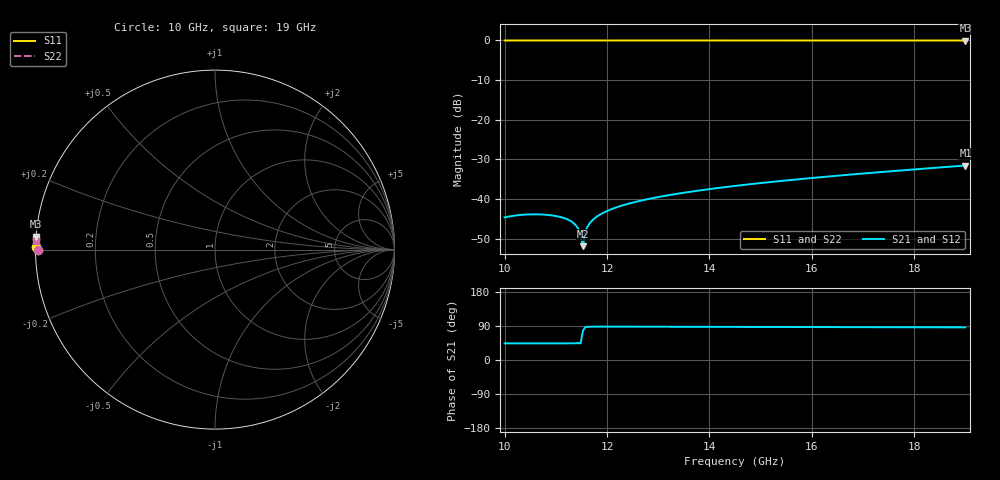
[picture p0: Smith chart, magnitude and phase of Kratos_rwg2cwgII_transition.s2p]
! Variables:
!  a = 0.3in
!  d = 2.99in
!  iris_radius = 0.0705in
!  iris_width = 0.04in
!  rwg_a = 0.622in
!  rwg_b = 0.311in
!  rwg_length = 0.3in
!Data is not renormalized
# GHz S RI
! Terminal data exported
! Port[1] = Port1_rwg
! Port[2] = Port2_cwg
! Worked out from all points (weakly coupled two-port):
!   201 points, 10 GHz to 19 GHz, reference per port
!   highest |S21| = -31.52 dB at 19 GHz (marker M1); lowest = -51.8 dB at 11.53 GHz (marker M2)
!   lowest |S11| = 0.0 dB at 19 GHz (marker M3), VSWR 981.56
!   |S11| at or under -10 dB: nowhere
!   |S22| runs from -0.1 to 0.0 dB; largest |S21 - S12| = 0
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10  -0.9994 0.0126  0.00424 0.00408  0.00424 0.00408  -0.9837 -0.000721
10.315  -0.9993 0.0162  0.00457 0.00439  0.00457 0.00439  -0.9854 -0.000633
10.63  -0.9991 0.0191  0.00465 0.00446  0.00465 0.00446  -0.9873 -0.000539
10.945  -0.999 0.0218  0.00449 0.00431  0.00449 0.00431  -0.9897 -0.000431
11.17  -0.9989 0.0236  0.00415 0.00399  0.00415 0.00399  -0.9918 -0.000252
11.26  -0.9989 0.0243  0.00392 0.00377  0.00392 0.00377  -0.9926 -0.000309
11.35  -0.9989 0.025  0.00358 0.00346  0.00358 0.00346  -0.9941 -0.000985
11.44  -0.9988 0.0256  0.00302 0.00296  0.00302 0.00296  -0.9932 -0.000249
11.485  -0.9988 0.026  0.00247 0.00239  0.00247 0.00239  -1 -0.0168
11.53  -0.9988 0.0263  0.000572 0.00249  0.000572 0.00249  -0.9831 0.0107
11.575  -0.9988 0.0266  0.000205 0.00385  0.000205 0.00385  -0.998 0.00687
11.62  -0.9987 0.0269  0.000194 0.00451  0.000194 0.00451  -0.9979 0.00409
11.71  -0.9987 0.0276  0.000191 0.00539  0.000191 0.00539  -0.9996 0.00619
11.845  -0.9987 0.0285  0.000213 0.00629  0.000213 0.00629  -0.9994 0.00792
12.025  -0.9986 0.0297  0.000243 0.00721  0.000243 0.00721  -0.9995 0.00998
12.295  -0.9985 0.0315  0.000289 0.00832  0.000289 0.00832  -0.9993 0.0124
13.015  -0.9982 0.0361  0.000409 0.0107  0.000409 0.0107  -0.9991 0.0177
13.69  -0.9979 0.0402  0.000526 0.0126  0.000526 0.0126  -0.9988 0.0217
14.5  -0.9976 0.045  0.000674 0.0147  0.000674 0.0147  -0.9986 0.0261
16.03  -0.997 0.0538  0.000993 0.0185  0.000993 0.0185  -0.9981 0.0336
17.515  -0.9962 0.0624  0.00137 0.0224  0.00137 0.0224  -0.9976 0.0407
19  -0.9954 0.0713  0.00182 0.0265  0.00182 0.0265  -0.997 0.0479
